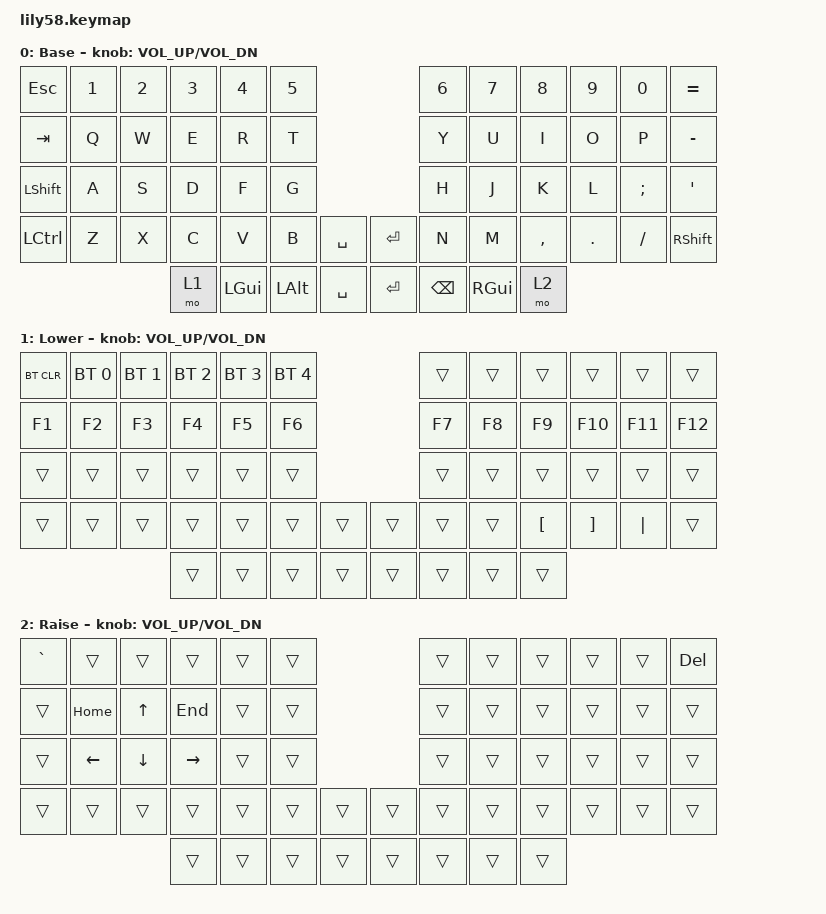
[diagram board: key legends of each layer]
/*
 * Copyright (c) 2020 The ZMK Contributors
 *
 * SPDX-License-Identifier: MIT
 */

#include <behaviors.dtsi>
#include <dt-bindings/zmk/bt.h>
#include <dt-bindings/zmk/keys.h>

/ {
    chosen {
        zmk,kscan = &kscan0;
        zephyr,display = &oled;
    };

    // Add custom widget configuration

    widgets {
        compatible = "zmk,widgets";

        status_screen: status_screen {
            compatible = "zmk,status-screen";
            label = "STATUS_SCREEN";
            position = <0>;
            height = <32>;
            width = <128>;
        };
    };

    keymap {
        compatible = "zmk,keymap";

        default_layer {
            // ----------------------------------------------------------------------------------------------------------
            // |  ESC  |  1  |  2  |  3    |  4   |  5   |                  |  6   |  7  |  8    |  9   |   0   |   =   |
            // |  TAB  |  Q  |  W  |  E    |  R   |  T   |                  |  Y   |  U  |  I    |  O   |   P   |   -   |
            // | SHIFT |  A  |  S  |  D    |  F   |  G   |                  |  H   |  J  |  K    |  L   |   ;   |   '   |
            // | CTRL  |  Z  |  X  |  C    |  V   |  B   | SPACE |  | ENTER |  N   |  M  |  ,    |  .   |   /   | SHIFT |
            //                     | LOWER | GUI  | ALT  | SPACE |  | ENTER | BSPC | GUI | RAISE |

            display-name = "Base";
            bindings = <
&kp ESC    &kp N1  &kp N2  &kp N3  &kp N4    &kp N5                          &kp N6    &kp N7    &kp N8     &kp N9   &kp N0    &kp EQUAL
&kp TAB    &kp Q   &kp W   &kp E   &kp R     &kp T                           &kp Y     &kp U     &kp I      &kp O    &kp P     &kp MINUS
&kp LSHFT  &kp A   &kp S   &kp D   &kp F     &kp G                           &kp H     &kp J     &kp K      &kp L    &kp SEMI  &kp SQT
&kp LCTRL  &kp Z   &kp X   &kp C   &kp V     &kp B     &kp SPACE    &kp RET  &kp N     &kp M     &kp COMMA  &kp DOT  &kp FSLH  &kp RSHFT
                           &mo 1   &kp LGUI  &kp LALT  &kp SPACE    &kp RET  &kp BSPC  &kp RGUI  &mo 2
            >;

            sensor-bindings = <&inc_dec_kp C_VOL_UP C_VOL_DN>;
        };

        lower_layer {
            // ------------------------------------------------------------------------------------------------------------
            // | BTCLR | BT1 | BT2 |  BT3 |  BT4 |  BT5 |                   |      |       |       |      |       |       |
            // |  F1   |  F2 |  F3 |  F4  |  F5  |  F6  |                   |  F7  |  F8   |  F9   |  F10 |  F11  |  F12  |
            // |   `   |  !  |  @  |  #   |  $   |  %   |                   |  ^   |  &    |  *    |  (   |   )   |       |
            // |       |     |     |      |      |      |        |  |       |      |       |  [    |  ]   |  "|"  |       |
            //                     |      |      |      |        |  |       |      |       |       |

            display-name = "Lower";
            bindings = <
&bt BT_CLR  &bt BT_SEL 0  &bt BT_SEL 1  &bt BT_SEL 2  &bt BT_SEL 3  &bt BT_SEL 4                    &trans  &trans  &trans    &trans    &trans    &trans
&kp F1      &kp F2        &kp F3        &kp F4        &kp F5        &kp F6                          &kp F7  &kp F8  &kp F9    &kp F10   &kp F11   &kp F12
&trans      &trans        &trans        &trans        &trans        &trans                          &trans  &trans  &trans    &trans    &trans    &trans
&trans      &trans        &trans        &trans        &trans        &trans        &trans    &trans  &trans  &trans  &kp LBKT  &kp RBKT  &kp PIPE  &trans
                                        &trans        &trans        &trans        &trans    &trans  &trans  &trans  &trans
            >;

            sensor-bindings = <&inc_dec_kp C_VOL_UP C_VOL_DN>;
        };

        raise_layer {
            // ---------------------------------------------------------------------------------------------------------
            // |   `  |      |      |      |      |      |                   |      |      |      |      |      |  DEL |
            // |      | HOME |   ^  | END  |      |      |                   |      |      |      |      |      |      |
            // |      |  <   |   v  |   >  |      |      |                   |      |      |      |      |      |      |
            // |      |      |      |      |      |      |        |  |       |      |      |      |      |      |      |
            //                      |      |      |      |        |  |       |      |      |      |

            display-name = "Raise";
            bindings = <
&kp GRAVE  &trans    &trans    &trans     &trans  &trans                    &trans  &trans  &trans  &trans  &trans  &kp DEL
&trans     &kp HOME  &kp UP    &kp END    &trans  &trans                    &trans  &trans  &trans  &trans  &trans  &trans
&trans     &kp LEFT  &kp DOWN  &kp RIGHT  &trans  &trans                    &trans  &trans  &trans  &trans  &trans  &trans
&trans     &trans    &trans    &trans     &trans  &trans  &trans    &trans  &trans  &trans  &trans  &trans  &trans  &trans
                               &trans     &trans  &trans  &trans    &trans  &trans  &trans  &trans
            >;

            sensor-bindings = <&inc_dec_kp C_VOL_UP C_VOL_DN>;
        };

        extra_1 { status = "reserved"; };

        extra_2 { status = "reserved"; };

        extra_3 { status = "reserved"; };
    };
};
